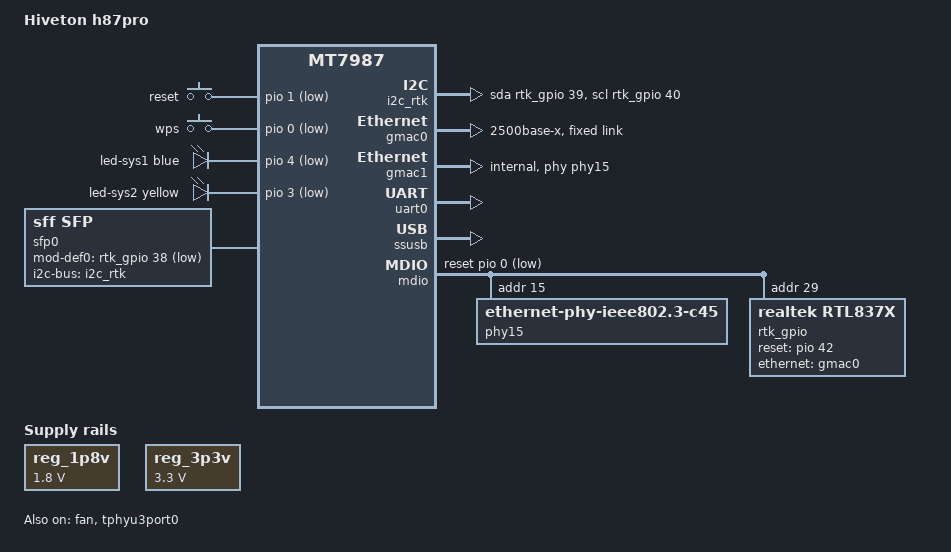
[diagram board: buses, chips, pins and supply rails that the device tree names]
// SPDX-License-Identifier: (GPL-2.0 OR MIT)

/dts-v1/;
#include "mt7987a.dtsi"
#include <dt-bindings/input/input.h>

/ {
	model = "Hiveton h87pro";
	compatible = "hiveton,h87pro", "mediatek,mt7987a", "mediatek,mt7987";

	aliases {
		serial0 = &uart0;
	};

	chosen: chosen {
		stdout-path = "serial0:115200n8";
	};

	gpio-keys {
		compatible = "gpio-keys";

		reset {
			label = "reset";
			linux,code = <KEY_RESTART>;
			gpios = <&pio 1 GPIO_ACTIVE_LOW>;
			debounce-interval = <10>;
		};

		wps {
			label = "wps";
			linux,code = <KEY_WPS_BUTTON>;
			gpios = <&pio 0 GPIO_ACTIVE_LOW>;
			debounce-interval = <10>;
		};
	};

	leds {
		compatible = "gpio-leds";

		led-sys1 {
			gpios = <&pio 4 GPIO_ACTIVE_LOW>;
			color = <LED_COLOR_ID_BLUE>;
			function = LED_FUNCTION_POWER;
		};

		led-sys2 {
			gpios = <&pio 3 GPIO_ACTIVE_LOW>;
			color = <LED_COLOR_ID_YELLOW>;
			function = LED_FUNCTION_POWER;
		};
	};

	reg_1p8v: regulator-1p8v {
		compatible = "regulator-fixed";
		regulator-name = "fixed-1.8V";
		regulator-min-microvolt = <1800000>;
		regulator-max-microvolt = <1800000>;
		regulator-boot-on;
		regulator-always-on;
	};

	reg_3p3v: regulator-3p3v {
		compatible = "regulator-fixed";
		regulator-name = "fixed-3.3V";
		regulator-min-microvolt = <3300000>;
		regulator-max-microvolt = <3300000>;
		regulator-boot-on;
		regulator-always-on;
	};

	i2c_rtk: i2c {
		compatible = "i2c-gpio";
		sda-gpios = <&rtk_gpio 39 GPIO_ACTIVE_HIGH>;
		scl-gpios = <&rtk_gpio 40 GPIO_ACTIVE_HIGH>;
		i2c-gpio,delay-us = <5>;
		i2c-gpio,timeout-ms = <1>;
	};

	sfp0: sfp {
		compatible = "sff,sfp";

		i2c-bus = <&i2c_rtk>;
		maximum-power-milliwatt = <1000>;

		mod-def0-gpios = <&rtk_gpio 38 GPIO_ACTIVE_LOW>;
	};
};

&pio {
	pwm_fan_pins: pwm-fan-pins {
		mux {
			/*
			* - pwm0 1  : PWM0@PIN13
			* - pwm1_0 :; PWM@PIN7  (share with JTAG)
			*   pwm1_1 : PWM1@PIN43 (share with i2c0)
			* - pwm2_0 : PWM2@PIN12 (share with PCM)
			*   pwm2_1 : PWM2@PIN44 (share with i2c0)
			*/
			function = "pwm";
			groups = "pwm1_0";
		};
	};
};

&fan {
	pinctrl-names = "default";
	pinctrl-0 = <&pwm_fan_pins>;
	compatible = "pwm-fan";
	#cooling-cells = <2>;
	cooling-levels = <0 10 20 30 40 50 60 70 80 90 100 110 120 130 140 150 160 170 180 190 200 210 220 240 255>;
	pwms = <&pwm 1 50000 0>;
	status = "okay";
};

&gmac0 {
	phy-mode = "2500base-x";
	status = "okay";

	fixed-link {
		speed = <2500>;
		full-duplex;
		pause;
		asym-pause;
	};
};

&gmac1 {
	phy-handle = <&phy15>;
	phy-mode = "internal";
	status = "okay";
};

&uart0 {
	pinctrl-names = "default";
	pinctrl-0 = <&uart0_pins>;
	status = "okay";
};

&ssusb {
	status = "okay";
};

&tphyu3port0 {
	status = "okay";
};

&mdio {
	reset-delay-us = <10000>;
	reset-gpios = <&pio 0 GPIO_ACTIVE_LOW>;

	phy15: phy@f {
		compatible = "ethernet-phy-ieee802.3-c45";
		reg = <15>;
		pinctrl-names = "i2p5gbe-led";
		pinctrl-0 = <&i2p5gbe_led0_pins>;
	};

	rtk_gpio: rtl837x-gsw@1 {
		compatible = "realtek,rtl837x";
		#address-cells = <1>;
		#size-cells = <1>;
		reg = <29>;
		reset-gpios = <&pio 42 GPIO_ACTIVE_HIGH>;
		rtl837x,cpu-port = <0>;
		rtl837x,sds0mode = "2500base-x";
		ethernet = <&gmac0>;
		sfp = <&sfp0>;
		sds0-rx-swap;
		sds1-rx-swap;
		phy-mdi-reverse;
		phy-tx-polarity-swap;
		gpio-controller;
		#gpio-cells = <2>;
	};
};
